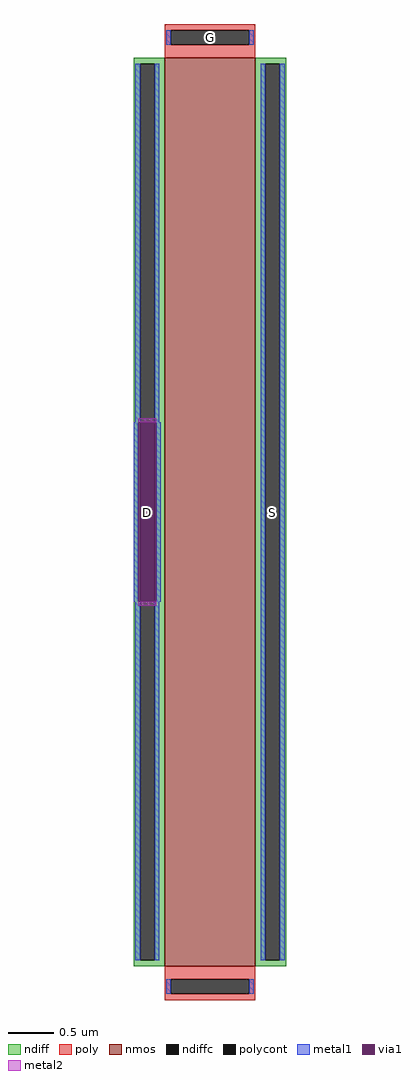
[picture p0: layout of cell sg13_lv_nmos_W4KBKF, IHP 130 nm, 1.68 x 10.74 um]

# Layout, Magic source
magic
tech ihp-sg13g2
magscale 1 2
<< nmos >>
rect -100 -1000 100 1000
<< ndiff >>
rect -168 986 -100 1000
rect -168 -986 -154 986
rect -122 -986 -100 986
rect -168 -1000 -100 -986
rect 100 986 168 1000
rect 100 -986 122 986
rect 154 -986 168 986
rect 100 -1000 168 -986
<< ndiffc >>
rect -154 -986 -122 986
rect 122 -986 154 986
<< poly >>
rect -100 1060 100 1074
rect -100 1028 -86 1060
rect 86 1028 100 1060
rect -100 1000 100 1028
rect -100 -1028 100 -1000
rect -100 -1060 -86 -1028
rect 86 -1060 100 -1028
rect -100 -1074 100 -1060
<< polycont >>
rect -86 1028 86 1060
rect -86 -1060 86 -1028
<< metal1 >>
rect -96 1028 -86 1060
rect 86 1028 96 1060
rect -164 198 -154 986
rect -168 197 -154 198
rect -122 198 -112 986
rect -122 197 -108 198
rect -168 -197 -158 197
rect -118 -197 -108 197
rect -168 -198 -154 -197
rect -164 -986 -154 -198
rect -122 -198 -108 -197
rect -122 -986 -112 -198
rect 112 -986 122 986
rect 154 -986 164 986
rect -96 -1060 -86 -1028
rect 86 -1060 96 -1028
<< via1 >>
rect -158 -197 -154 197
rect -154 -197 -122 197
rect -122 -197 -118 197
<< metal2 >>
rect -158 197 -118 206
rect -158 -206 -118 -197
<< labels >>
rlabel ndiffc -138 0 -138 0 0 D
port 1 nsew
rlabel ndiffc 138 0 138 0 0 S
port 2 nsew
rlabel polycont 0 1044 0 1044 0 G
port 3 nsew
<< properties >>
string gencell sg13_lv_nmos
string library sg13g2
string parameters w 10 l 1 m 1 nf 1 diffcov 100 polycov 100 guard 0 glc 1 grc 0 gtc 0 gbc 0 tbcov 100 rlcov 100 topc 1 botc 1 poverlap 0 doverlap 1 lmin 0.13 wmin 0.15 class mosfet compatible {sg13_lv_nmos sg13_hv_nmos} full_metal 0 conn_gates 0 gate_ring 0 doports 1 viasrc 0 viadrn 20 viagate 0 ccols 1 viagb 0 viagr 0 viagl 0 viagt 0
<< end >>
